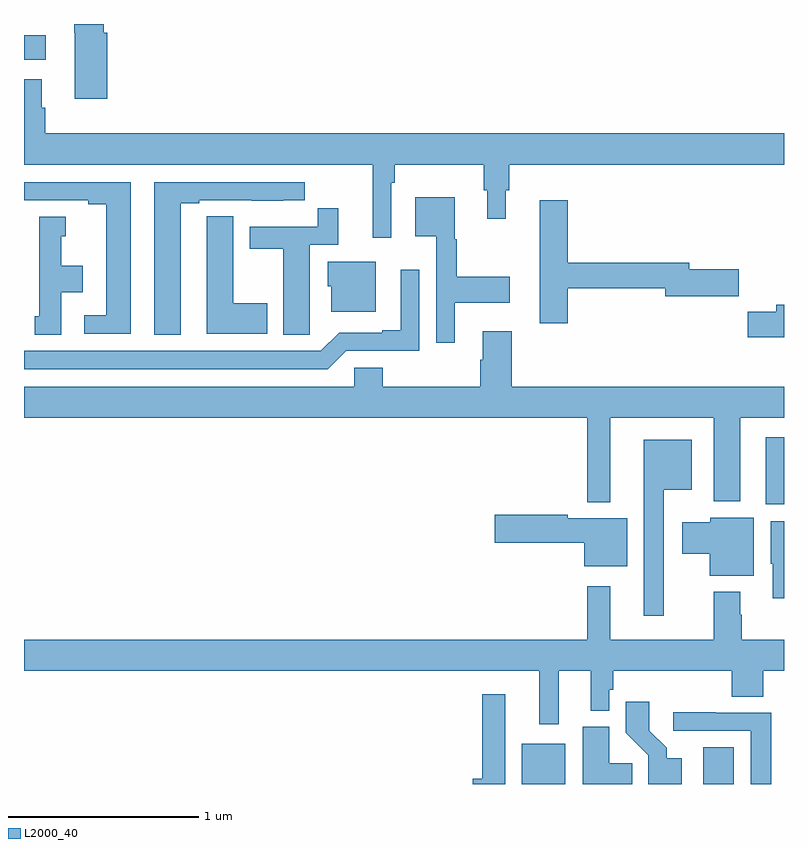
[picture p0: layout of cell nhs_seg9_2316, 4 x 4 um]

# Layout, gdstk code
import gdstk
lib = gdstk.Library(unit=1e-6, precision=1e-09)
def R(c, l, rs):  # rectangles x0, y0, x1, y1
    for r in rs: c.add(gdstk.rectangle(r[:2], r[2:], *l))
def P(c, l, *ps):  # polygons
    for p in ps: c.add(gdstk.Polygon(p, *l))
L2000_40 = (2000, 40)

nhs_seg9_2316 = lib.new_cell('nhs_seg9_2316')
R(nhs_seg9_2316, L2000_40, [(245.621,1186.5,245.848,1186.711), (246.575,1186.5,246.736,1186.693), (246.905,1187.972,247,1188.325), (243,1190.312,243.115,1190.442)])
P(nhs_seg9_2316, L2000_40, [(243.437,1190.454),(243.419,1190.454),(243.419,1190.5),(243.265,1190.5),(243.265,1190.454),(243.266,1190.454),(243.266,1190.106),(243.437,1190.106)],
  [(244.932,1189.664),(244.952,1189.664),(244.952,1189.76),(245.419,1189.76),(245.419,1189.626),(245.438,1189.626),(245.438,1189.476),(245.536,1189.476),(245.536,1189.626),(245.555,1189.626),(245.555,1189.76),(247,1189.76),(247,1189.924),(243.113,1189.924),(243.113,1190.058),(243.094,1190.058),(243.094,1190.209),(243,1190.209),(243,1189.76),(244.835,1189.76),(244.835,1189.374),(244.932,1189.374)],
  [(243.562,1189.668),(243,1189.668),(243,1189.572),(243.338,1189.572),(243.338,1189.552),(243.434,1189.552),(243.434,1188.966),(243.318,1188.966),(243.318,1188.87),(243.562,1188.87)],
  [(243.826,1189.557),(243.922,1189.557),(243.922,1189.572),(244.198,1189.572),(244.198,1189.571),(244.364,1189.571),(244.364,1189.572),(244.477,1189.572),(244.477,1189.668),(243.686,1189.668),(243.686,1188.865),(243.826,1188.865)],
  [(245.266,1189.034),(245.557,1189.034),(245.557,1189.169),(245.278,1189.169),(245.278,1189.368),(245.266,1189.368),(245.266,1189.588),(245.06,1189.588),(245.06,1189.382),(245.169,1189.382),(245.169,1188.822),(245.266,1188.822)],
  [(245.861,1189.108),(246.374,1189.108),(246.374,1189.066),(246.763,1189.066),(246.763,1189.208),(246.502,1189.208),(246.502,1189.244),(245.861,1189.244),(245.861,1189.573),(245.714,1189.573),(245.714,1188.924),(245.861,1188.924)],
  [(244.503,1188.976),(244.504,1188.976),(244.504,1189.338),(244.655,1189.338),(244.655,1189.531),(244.546,1189.531),(244.546,1189.434),(244.187,1189.434),(244.187,1189.318),(244.364,1189.318),(244.364,1188.865),(244.503,1188.865)],
  [(244.279,1189.029),(244.102,1189.029),(244.102,1189.487),(243.963,1189.487),(243.963,1189.379),(243.962,1189.379),(243.962,1188.869),(244.279,1188.869)],
  [(243.196,1189.088),(243.31,1189.088),(243.31,1189.228),(243.196,1189.228),(243.196,1189.383),(243.22,1189.383),(243.22,1189.486),(243.08,1189.486),(243.08,1188.963),(243.056,1188.963),(243.056,1188.865),(243.196,1188.865)],
  [(244.852,1189.249),(244.598,1189.249),(244.598,1189.119),(244.616,1189.119),(244.616,1188.986),(244.852,1188.986)],
  [(244.695,1188.78),(245.079,1188.78),(245.079,1189.207),(244.982,1189.207),(244.982,1188.889),(244.886,1188.889),(244.886,1188.876),(244.659,1188.876),(244.563,1188.78),(243,1188.78),(243,1188.684),(244.599,1188.684)],
  [(247,1189.022),(246.959,1189.022),(246.959,1188.986),(246.81,1188.986),(246.81,1188.851),(247,1188.851)],
  [(245.567,1188.883),(245.414,1188.883),(245.414,1188.734),(245.402,1188.734),(245.402,1188.592),(244.889,1188.592),(244.889,1188.69),(244.737,1188.69),(244.737,1188.592),(243,1188.592),(243,1188.428),(245.964,1188.428),(245.964,1187.984),(246.085,1187.984),(246.085,1188.428),(246.629,1188.428),(246.629,1187.987),(246.769,1187.987),(246.769,1188.428),(247,1188.428),(247,1188.592),(245.567,1188.592)],
  [(246.367,1188.05),(246.514,1188.05),(246.514,1188.313),(246.263,1188.313),(246.263,1187.385),(246.367,1187.385)],
  [(246.175,1187.899),(245.862,1187.899),(245.862,1187.918),(245.478,1187.918),(245.478,1187.771),(245.948,1187.771),(245.948,1187.645),(246.175,1187.645)],
  [(246.841,1187.902),(246.612,1187.902),(246.612,1187.878),(246.465,1187.878),(246.465,1187.713),(246.608,1187.713),(246.608,1187.597),(246.841,1187.597)],
  [(247,1187.884),(246.929,1187.884),(246.929,1187.658),(246.941,1187.658),(246.941,1187.478),(247,1187.478)],
  [(245.815,1187.096),(245.984,1187.096),(245.984,1186.886),(246.081,1186.886),(246.081,1186.995),(246.101,1186.995),(246.101,1187.096),(246.725,1187.096),(246.725,1186.96),(246.89,1186.96),(246.89,1187.096),(247,1187.096),(247,1187.26),(246.777,1187.26),(246.777,1187.39),(246.769,1187.39),(246.769,1187.512),(246.629,1187.512),(246.629,1187.26),(246.085,1187.26),(246.085,1187.542),(245.964,1187.542),(245.964,1187.26),(243,1187.26),(243,1187.096),(245.711,1187.096),(245.711,1186.815),(245.815,1186.815)],
  [(245.533,1186.972),(245.412,1186.972),(245.412,1186.528),(245.363,1186.528),(245.363,1186.5),(245.533,1186.5)],
  [(246.463,1186.636),(246.382,1186.636),(246.382,1186.691),(246.292,1186.781),(246.292,1186.933),(246.166,1186.933),(246.166,1186.77),(246.285,1186.651),(246.285,1186.5),(246.463,1186.5)],
  [(246.934,1186.875),(246.641,1186.875),(246.641,1186.878),(246.417,1186.878),(246.417,1186.779),(246.825,1186.779),(246.825,1186.5),(246.934,1186.5)],
  [(246.2,1186.61),(246.079,1186.61),(246.079,1186.801),(245.942,1186.801),(245.942,1186.5),(246.2,1186.5)])

lib.write_gds('nhs_seg9_2316.gds')
